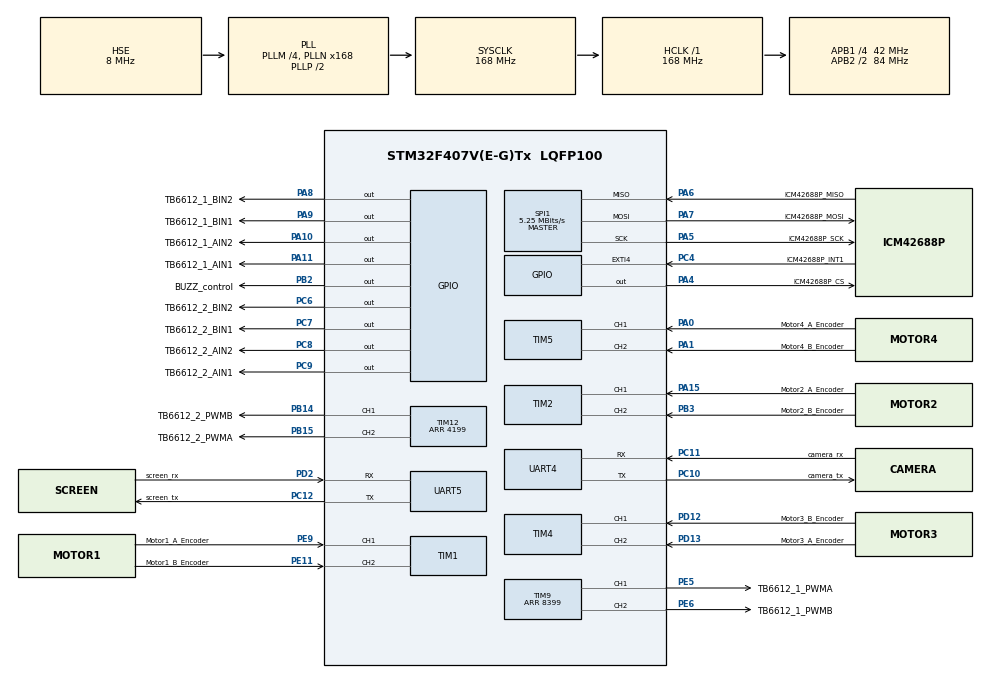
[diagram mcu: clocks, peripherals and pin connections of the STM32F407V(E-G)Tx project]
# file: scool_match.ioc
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Dma.Request0=SPI1_RX
Dma.Request1=SPI1_TX
Dma.Request2=UART4_RX
Dma.SPI1_RX.0.Direction=DMA_PERIPH_TO_MEMORY
Dma.SPI1_RX.0.FIFOMode=DMA_FIFOMODE_DISABLE
Dma.SPI1_RX.0.Instance=DMA2_Stream0
Dma.SPI1_RX.0.MemDataAlignment=DMA_MDATAALIGN_BYTE
Dma.SPI1_RX.0.MemInc=DMA_MINC_ENABLE
Dma.SPI1_RX.0.Mode=DMA_NORMAL
Dma.SPI1_RX.0.PeriphDataAlignment=DMA_PDATAALIGN_BYTE
Dma.SPI1_RX.0.PeriphInc=DMA_PINC_DISABLE
Dma.SPI1_RX.0.Priority=DMA_PRIORITY_LOW
Dma.SPI1_TX.1.Direction=DMA_MEMORY_TO_PERIPH
Dma.SPI1_TX.1.FIFOMode=DMA_FIFOMODE_DISABLE
Dma.SPI1_TX.1.Instance=DMA2_Stream3
Dma.SPI1_TX.1.MemDataAlignment=DMA_MDATAALIGN_BYTE
Dma.SPI1_TX.1.MemInc=DMA_MINC_ENABLE
Dma.SPI1_TX.1.Mode=DMA_NORMAL
Dma.SPI1_TX.1.PeriphDataAlignment=DMA_PDATAALIGN_BYTE
Dma.SPI1_TX.1.PeriphInc=DMA_PINC_DISABLE
Dma.SPI1_TX.1.Priority=DMA_PRIORITY_LOW
Dma.UART4_RX.2.Direction=DMA_PERIPH_TO_MEMORY
Dma.UART4_RX.2.FIFOMode=DMA_FIFOMODE_DISABLE
Dma.UART4_RX.2.Instance=DMA1_Stream2
Dma.UART4_RX.2.MemDataAlignment=DMA_MDATAALIGN_BYTE
Dma.UART4_RX.2.MemInc=DMA_MINC_ENABLE
Dma.UART4_RX.2.Mode=DMA_NORMAL
Dma.UART4_RX.2.PeriphDataAlignment=DMA_PDATAALIGN_BYTE
Dma.UART4_RX.2.PeriphInc=DMA_PINC_DISABLE
Dma.UART4_RX.2.Priority=DMA_PRIORITY_LOW
Mcu.Family=STM32F4
Mcu.Name=STM32F407V(E-G)Tx
Mcu.Package=LQFP100
NVIC.DMA1_Stream2_IRQn=true\:0\:0\:false\:false\:true\:false\:true\:true
NVIC.DMA2_Stream0_IRQn=true\:0\:0\:false\:false\:true\:false\:true\:true
NVIC.DMA2_Stream3_IRQn=true\:0\:0\:false\:false\:true\:false\:true\:true
NVIC.EXTI4_IRQn=true\:0\:0\:false\:false\:true\:true\:true\:true
NVIC.PriorityGroup=NVIC_PRIORITYGROUP_4
NVIC.TIM6_DAC_IRQn=true\:15\:0\:false\:false\:true\:false\:true\:true
NVIC.TimeBase=TIM6_DAC_IRQn
NVIC.TimeBaseIP=TIM6
NVIC.UART4_IRQn=true\:0\:0\:false\:false\:true\:true\:true\:true
PA0-WKUP.GPIO_Label=Motor4_A_Encoder
PA0-WKUP.Signal=S_TIM5_CH1
PA1.GPIO_Label=Motor4_B_Encoder
PA1.Signal=S_TIM5_CH2
PA10.GPIO_Label=TB6612_1_AIN2
PA10.Signal=GPIO_Output
PA11.GPIO_Label=TB6612_1_AIN1
PA11.Signal=GPIO_Output
PA13.Mode=Serial_Wire
PA13.Signal=SYS_JTMS-SWDIO
PA14.Mode=Serial_Wire
PA14.Signal=SYS_JTCK-SWCLK
PA15.GPIO_Label=Motor2_A_Encoder
PA15.Signal=S_TIM2_CH1_ETR
PA4.GPIO_Label=ICM42688P_CS
PA4.PinState=GPIO_PIN_SET
PA4.Signal=GPIO_Output
PA5.GPIO_Label=ICM42688P_SCK
PA5.Mode=Full_Duplex_Master
PA5.Signal=SPI1_SCK
PA6.GPIO_Label=ICM42688P_MISO
PA6.Mode=Full_Duplex_Master
PA6.Signal=SPI1_MISO
PA7.GPIO_Label=ICM42688P_MOSI
PA7.Mode=Full_Duplex_Master
PA7.Signal=SPI1_MOSI
PA8.GPIO_Label=TB6612_1_BIN2
PA8.Signal=GPIO_Output
PA9.GPIO_Label=TB6612_1_BIN1
PA9.Signal=GPIO_Output
PB14.GPIO_Label=TB6612_2_PWMB
PB14.Signal=S_TIM12_CH1
PB15.GPIO_Label=TB6612_2_PWMA
PB15.Signal=S_TIM12_CH2
PB2.GPIO_Label=BUZZ_control
PB2.Signal=GPIO_Output
PB3.GPIO_Label=Motor2_B_Encoder
PB3.Signal=S_TIM2_CH2
PC10.GPIO_Label=camera_tx
PC10.Mode=Asynchronous
PC10.Signal=UART4_TX
PC11.GPIO_Label=camera_rx
PC11.Mode=Asynchronous
PC11.Signal=UART4_RX
PC12.GPIO_Label=screen_tx
PC12.Mode=Asynchronous
PC12.Signal=UART5_TX
PC4.GPIO_Label=ICM42688P_INT1
PC4.GPIO_PuPd=GPIO_NOPULL
PC4.Signal=GPXTI4
PC6.GPIO_Label=TB6612_2_BIN2
PC6.Signal=GPIO_Output
PC7.GPIO_Label=TB6612_2_BIN1
PC7.Signal=GPIO_Output
PC8.GPIO_Label=TB6612_2_AIN2
PC8.Signal=GPIO_Output
PC9.GPIO_Label=TB6612_2_AIN1
PC9.Signal=GPIO_Output
PD12.GPIO_Label=Motor3_B_Encoder
PD12.Signal=S_TIM4_CH1
PD13.GPIO_Label=Motor3_A_Encoder
PD13.Signal=S_TIM4_CH2
PD2.GPIO_Label=screen_rx
PD2.Mode=Asynchronous
PD2.Signal=UART5_RX
PE11.GPIO_Label=Motor1_B_Encoder
PE11.GPIO_PuPd=GPIO_PULLUP
PE11.Signal=S_TIM1_CH2
PE5.GPIO_Label=TB6612_1_PWMA
PE5.Signal=S_TIM9_CH1
PE6.GPIO_Label=TB6612_1_PWMB
PE6.Signal=S_TIM9_CH2
PE9.GPIO_Label=Motor1_A_Encoder
PE9.GPIO_PuPd=GPIO_PULLUP
PE9.Signal=S_TIM1_CH1
PH0-OSC_IN.Mode=HSE-External-Oscillator
PH0-OSC_IN.Signal=RCC_OSC_IN
PH1-OSC_OUT.Mode=HSE-External-Oscillator
PH1-OSC_OUT.Signal=RCC_OSC_OUT
ProjectManager.HeapSize=0x200
ProjectManager.StackSize=0x400
ProjectManager.TargetToolchain=CMake
RCC.48MHZClocksFreq_Value=84000000
RCC.AHBFreq_Value=168000000
RCC.APB1CLKDivider=RCC_HCLK_DIV4
RCC.APB1Freq_Value=42000000
RCC.APB1TimFreq_Value=84000000
RCC.APB2CLKDivider=RCC_HCLK_DIV2
RCC.APB2Freq_Value=84000000
RCC.APB2TimFreq_Value=168000000
RCC.CortexFreq_Value=168000000
RCC.HCLKFreq_Value=168000000
RCC.HSE_VALUE=8000000
RCC.HSI_VALUE=16000000
RCC.LSE_VALUE=32768
RCC.PLLM=4
RCC.PLLN=168
RCC.PLLSourceVirtual=RCC_PLLSOURCE_HSE
RCC.SYSCLKFreq_VALUE=168000000
RCC.SYSCLKSource=RCC_SYSCLKSOURCE_PLLCLK
RCC.VCOOutputFreq_Value=336000000
SH.S_TIM12_CH1.0=TIM12_CH1,PWM Generation1 CH1
SH.S_TIM12_CH2.0=TIM12_CH2,PWM Generation2 CH2
SH.S_TIM1_CH1.0=TIM1_CH1,Encoder_Interface
SH.S_TIM1_CH2.0=TIM1_CH2,Encoder_Interface
SH.S_TIM2_CH1_ETR.0=TIM2_CH1,Encoder_Interface
SH.S_TIM2_CH2.0=TIM2_CH2,Encoder_Interface
SH.S_TIM4_CH1.0=TIM4_CH1,Encoder_Interface
SH.S_TIM4_CH2.0=TIM4_CH2,Encoder_Interface
SH.S_TIM5_CH1.0=TIM5_CH1,Encoder_Interface
SH.S_TIM5_CH2.0=TIM5_CH2,Encoder_Interface
SH.S_TIM9_CH1.0=TIM9_CH1,PWM Generation1 CH1
SH.S_TIM9_CH2.0=TIM9_CH2,PWM Generation2 CH2
SPI1.BaudRatePrescaler=SPI_BAUDRATEPRESCALER_16
SPI1.CalculateBaudRate=5.25 MBits/s
SPI1.Direction=SPI_DIRECTION_2LINES
SPI1.Mode=SPI_MODE_MASTER
SPI1.VirtualType=VM_MASTER
TIM1.EncoderMode=TIM_ENCODERMODE_TI12
TIM1.IC1Filter=8
TIM1.IC2Filter=0
TIM12.Channel-PWM\ Generation1\ CH1=TIM_CHANNEL_1
TIM12.Channel-PWM\ Generation2\ CH2=TIM_CHANNEL_2
TIM12.Period=4199
TIM12.Pulse-PWM\ Generation1\ CH1=2100
TIM12.Pulse-PWM\ Generation2\ CH2=2100
TIM2.EncoderMode=TIM_ENCODERMODE_TI12
TIM2.IC1Filter=8
TIM2.IC2Filter=8
TIM4.EncoderMode=TIM_ENCODERMODE_TI12
TIM4.IC1Filter=8
TIM4.IC2Filter=8
TIM5.EncoderMode=TIM_ENCODERMODE_TI12
TIM5.IC1Filter=8
TIM5.IC2Filter=8
TIM9.Channel-PWM\ Generation1\ CH1=TIM_CHANNEL_1
TIM9.Channel-PWM\ Generation2\ CH2=TIM_CHANNEL_2
TIM9.Period=8399
TIM9.Pulse-PWM\ Generation1\ CH1=4200
TIM9.Pulse-PWM\ Generation2\ CH2=4200
UART4.VirtualMode=Asynchronous
UART5.VirtualMode=Asynchronous
VP_SYS_VS_tim6.Mode=TIM6
board=custom

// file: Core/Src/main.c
/* USER CODE BEGIN Header */
/**
  ******************************************************************************
  * @file           : main.c
  * @brief          : Main program body
  ******************************************************************************
  * @attention
  *
  * Copyright (c) 2026 STMicroelectronics.
  * All rights reserved.
  *
  * This software is licensed under terms that can be found in the LICENSE file
  * in the root directory of this software component.
  * If no LICENSE file comes with this software, it is provided AS-IS.
  *
  ******************************************************************************
  */
/* USER CODE END Header */
#include "main.h"
#include "dma.h"
#include "spi.h"
#include "tim.h"
#include "usart.h"
#include "gpio.h"

/* USER CODE BEGIN Includes */
#include "app_platform_drive.h"
#include "alarm_service.h"
#include "camera_uart.h"
#include "encoder.h"
#include "icm42688p.h"
#include "screen_uart.h"
#include "task5.h"
#include "task6.h"
#include "vision_app.h"
#include <stdio.h>
#include <stdlib.h>
#include <string.h>
/* USER CODE END Includes */

/* USER CODE BEGIN PV */
static app_platform_drive_t s_platform_drive;
static app_platform_drive_config_t s_platform_config;
static uint32_t s_last_drive_update_ms = 0U;

/* USER CODE END PV */

void SystemClock_Config(void);
/* USER CODE BEGIN PFP */
static void App_MainProcess(void);
static void App_HandleScreenCommands(void);
static void App_PrintHelp(void);
static uint8_t App_ReadAllEncoderCounts(int32_t counts[ENCODER_COUNT]);
static void App_PrintEncoderCounts(const char *prefix, const int32_t counts[ENCODER_COUNT]);
static void App_PrintPlatformState(void);
static const char *App_Task5PointName(uint8_t point_index);
static void App_PrintTask5Table(void);

/* USER CODE END PFP */

/* USER CODE BEGIN 0 */
static void App_PrintHelp(void)
{
  (void)ScreenUart_Printf("task6 cmd: zero, t6_mark=1..2, t6_run, t6_stop, t6_stat, t6_list\r\n");
}

static uint8_t App_ReadAllEncoderCounts(int32_t counts[ENCODER_COUNT])
{
  uint32_t index;

  if (counts == NULL)
  {
    return 0U;
  }

  for (index = 0U; index < (uint32_t)ENCODER_COUNT; index++)
  {
    if (Encoder_GetCount((encoder_id_t)index, &counts[index]) != ENCODER_STATUS_OK)
    {
      return 0U;
    }
  }

  return 1U;
}

static void App_PrintEncoderCounts(const char *prefix, const int32_t counts[ENCODER_COUNT])
{
  if ((prefix == NULL) || (counts == NULL))
  {
    return;
  }

  (void)ScreenUart_Printf("%s m1=%ld m2=%ld m3=%ld m4=%ld\r\n",
                          prefix,
                          (long)counts[0],
                          (long)counts[1],
                          (long)counts[2],
                          (long)counts[3]);
}

static const char *App_Task5PointName(uint8_t point_index)
{
  switch (point_index)
  {
    case 1U:
      return "LT";
    case 2U:
      return "RT";
    case 3U:
      return "R(+20,+10)";
    case 4U:
      return "L(-20,+10)";
    case 5U:
      return "L(-20,0)";
    case 6U:
      return "R(+20,0)";
    case 7U:
      return "R(+20,-10)";
    case 8U:
      return "L(-20,-10)";
    case 9U:
      return "LB";
    case 10U:
      return "RB";
    default:
      return "?";
  }
}

static void App_PrintTask5Table(void)
{
  task5_waypoint_t waypoint;
  task6_fire_point_t fire_point;
  uint8_t point_id;
  uint8_t fire_id;

  for (point_id = 1U; point_id <= (uint8_t)TASK5_POINT_COUNT; point_id++)
  {
    if (Task5_GetWaypoint((task5_point_id_t)point_id, &waypoint) == 0U)
    {
      continue;
    }

    (void)ScreenUart_Printf("p%u(%s) xy=(%d,%d) valid=%u counts={ %ld, %ld, %ld, %ld }\r\n",
                            (unsigned int)point_id,
                            App_Task5PointName(point_id),
                            (int)waypoint.x_cm,
                            (int)waypoint.y_cm,
                            (unsigned int)waypoint.valid,
                            (long)waypoint.counts[0],
                            (long)waypoint.counts[1],
                            (long)waypoint.counts[2],
                            (long)waypoint.counts[3]);
  }

  for (fire_id = 1U; fire_id <= TASK6_FIRE_POINT_COUNT; fire_id++)
  {
    if (Task6_GetFirePoint(fire_id, &fire_point) == 0U)
    {
      continue;
    }

    (void)ScreenUart_Printf("fire%u valid=%u counts={ %ld, %ld, %ld, %ld }\r\n",
                            (unsigned int)fire_id,
                            (unsigned int)fire_point.valid,
                            (long)fire_point.counts[0],
                            (long)fire_point.counts[1],
                            (long)fire_point.counts[2],
                            (long)fire_point.counts[3]);
  }
}

static void App_PrintPlatformState(void)
{
  const rope_platform_solver_t *solver = AppPlatformDrive_GetSolver(&s_platform_drive);

  if ((solver == NULL) || (solver->state_valid == 0U))
  {
    (void)ScreenUart_Printf("pose invalid\r\n");
    return;
  }

  (void)ScreenUart_Printf("pose x=%.4f y=%.4f vx=%.4f vy=%.4f rms=%.5f zero=%u busy=%u\r\n",
                          (double)solver->position_x_m,
                          (double)solver->position_y_m,
                          (double)solver->velocity_x_mps,
                          (double)solver->velocity_y_mps,
                          (double)solver->residual_rms_m,
                          (unsigned int)Task6_IsCenterZeroReady(),
                          (unsigned int)Task6_IsBusy());
  (void)ScreenUart_Printf("task6 zero=%u busy=%u state=%u step=%u target=%u fire_alarm=%u fire_ready=%u\r\n",
                          (unsigned int)Task6_IsCenterZeroReady(),
                          (unsigned int)Task6_IsBusy(),
                          (unsigned int)Task6_GetState(),
                          (unsigned int)Task6_GetCurrentPathIndex(),
                          (unsigned int)Task6_GetCurrentTarget(),
                          (unsigned int)Task6_IsFireAlarmActive(),
                          (unsigned int)Task6_IsFirePointsReady());
}

static void App_PrintTask6CurrentStep(void)
{
  const uint8_t fire_id = Task6_GetCurrentFireId();

  if (fire_id != 0U)
  {
    (void)ScreenUart_Printf("t6 current step=%u fire%u\r\n",
                            (unsigned int)Task6_GetCurrentPathIndex(),
                            (unsigned int)fire_id);
  }
  else
  {
    (void)ScreenUart_Printf("t6 current step=%u p%u(%s)\r\n",
                            (unsigned int)Task6_GetCurrentPathIndex(),
                            (unsigned int)Task6_GetCurrentTarget(),
                            App_Task5PointName((uint8_t)Task6_GetCurrentTarget()));
  }
}

static void App_HandleScreenCommands(void)
{
  char line[SCREEN_UART_LINE_BUFFER_SIZE];
  int32_t counts[ENCODER_COUNT];

  while (ScreenUart_ReadLine(line, sizeof(line)) != 0U)
  {
    if (strcmp(line, "enc") == 0)
    {
      if (App_ReadAllEncoderCounts(counts) == 0U)
      {
        (void)ScreenUart_Printf("enc read failed\r\n");
      }
      else
      {
        App_PrintEncoderCounts("enc", counts);
      }
      continue;
    }

    if (strcmp(line, "zero") == 0)
    {
      Task6_Stop();

      if (Encoder_ResetAll() != ENCODER_STATUS_OK)
      {
        (void)ScreenUart_Printf("enc zero failed\r\n");
      }
      else if (Task6_SetCenterZero() == 0U)
      {
        (void)ScreenUart_Printf("center zero failed\r\n");
      }
      else
      {
        (void)ScreenUart_Printf("center zero ok\r\n");
      }
      continue;
    }

    if (strncmp(line, "t6_mark=", 8U) == 0)
    {
      const int fire_point_id = atoi(&line[8]);

      if ((fire_point_id < 1) || (fire_point_id > (int)TASK6_FIRE_POINT_COUNT))
      {
        (void)ScreenUart_Printf("t6 mark id invalid\r\n");
      }
      else if (Task6_IsCenterZeroReady() == 0U)
      {
        (void)ScreenUart_Printf("please zero at center first\r\n");
      }
      else if (Task6_PrintFireCalibrationPoint((uint8_t)fire_point_id) == 0U)
      {
        (void)ScreenUart_Printf("t6 mark fire%d failed\r\n", fire_point_id);
      }
      continue;
    }

    if (strcmp(line, "t6_run") == 0)
    {
      if (Task6_IsCenterZeroReady() == 0U)
      {
        (void)ScreenUart_Printf("please zero at center first\r\n");
      }
      else if (Task6_StartPatrol() == 0U)
      {
        (void)ScreenUart_Printf("t6 run start failed\r\n");
      }
      else
      {
        App_PrintTask6CurrentStep();
      }
      continue;
    }

    if (strcmp(line, "t6_stop") == 0)
    {
      Task6_Stop();
      (void)ScreenUart_Printf("t6 stop ok\r\n");
      continue;
    }

    if (strcmp(line, "t6_stat") == 0)
    {
      App_PrintPlatformState();
      continue;
    }

    if (strcmp(line, "t6_list") == 0)
    {
      App_PrintTask5Table();
      continue;
    }

    if (strcmp(line, "stat") == 0)
    {
      if (App_ReadAllEncoderCounts(counts) == 0U)
      {
        (void)ScreenUart_Printf("stat read failed\r\n");
      }
      else
      {
        App_PrintEncoderCounts("stat", counts);
        App_PrintPlatformState();
      }
      continue;
    }

    if (strcmp(line, "help") == 0)
    {
      App_PrintHelp();
      continue;
    }

    (void)ScreenUart_Printf("unknown: %s\r\n", line);
  }
}

static void App_MainProcess(void)
{
  const uint32_t now_ms = HAL_GetTick();
  static task6_state_t s_last_task6_state = TASK6_STATE_IDLE;
  static uint8_t s_last_step_index = 0U;

  App_HandleScreenCommands();

  if ((now_ms - s_last_drive_update_ms) >= 10U)
  {
    s_last_drive_update_ms = now_ms;
    TASK6();
    if (Task6_IsBusy() == 0U)
    {
      (void)AppPlatformDrive_UpdateStateOnly(&s_platform_drive, 0.010f);
    }
  }

  if ((Task6_GetState() == TASK6_STATE_RUNNING) &&
      (Task6_GetCurrentPathIndex() != s_last_step_index))
  {
    App_PrintTask6CurrentStep();
  }

  if ((s_last_task6_state != TASK6_STATE_FIRE_ALARM) && (Task6_GetState() == TASK6_STATE_FIRE_ALARM))
  {
    (void)ScreenUart_Printf("t6 fire alarm start\r\n");
  }

  if ((s_last_task6_state == TASK6_STATE_FIRE_ALARM) && (Task6_GetState() == TASK6_STATE_RUNNING))
  {
    (void)ScreenUart_Printf("t6 fire alarm done, continue\r\n");
  }

  if ((s_last_task6_state != TASK6_STATE_FINISHED) && (Task6_GetState() == TASK6_STATE_FINISHED))
  {
    (void)ScreenUart_Printf("t6 patrol finished\r\n");
  }

  if ((s_last_task6_state != TASK6_STATE_ERROR) && (Task6_GetState() == TASK6_STATE_ERROR))
  {
    (void)ScreenUart_Printf("t6 run failed\r\n");
  }

  s_last_task6_state = Task6_GetState();
  s_last_step_index = Task6_GetCurrentPathIndex();
}
/* USER CODE END 0 */

int main(void)
{

  /* MCU Configuration--------------------------------------------------------*/

  /* Reset of all peripherals, Initializes the Flash interface and the Systick. */
  HAL_Init();

  /* Configure the system clock */
  SystemClock_Config();

  /* Initialize all configured peripherals */
  MX_GPIO_Init();
  MX_DMA_Init();
  MX_SPI1_Init();
  MX_TIM1_Init();
  MX_TIM2_Init();
  MX_TIM4_Init();
  MX_TIM5_Init();
  MX_TIM9_Init();
  MX_TIM12_Init();
  MX_UART4_Init();
  MX_UART5_Init();
  /* USER CODE BEGIN 2 */
  (void)CameraUart_Init();
  (void)ScreenUart_Init();
  AlarmService_Init();
  (void)ScreenUart_SendString("boot uart5 ok\r\n");
  AppPlatformDrive_GetDefaultConfig(&s_platform_config);
  if (AppPlatformDrive_Init(&s_platform_drive, &s_platform_config) != APP_PLATFORM_DRIVE_STATUS_OK)
  {
    (void)ScreenUart_Printf("platform init failed\r\n");
  }
  else
  {
    Task6_Init(&s_platform_drive);
    (void)ScreenUart_Printf("platform init ok\r\n");
    App_PrintHelp();
  }
  s_last_drive_update_ms = HAL_GetTick();
  /* USER CODE END 2 */

  /* Infinite loop */
  while (1)
  {

    /* USER CODE BEGIN 3 */
    App_MainProcess();
  }
  /* USER CODE END 3 */
}

void SystemClock_Config(void)
{
  RCC_OscInitTypeDef RCC_OscInitStruct = {0};
  RCC_ClkInitTypeDef RCC_ClkInitStruct = {0};

  /** Configure the main internal regulator output voltage
  */
  __HAL_RCC_PWR_CLK_ENABLE();
  __HAL_PWR_VOLTAGESCALING_CONFIG(PWR_REGULATOR_VOLTAGE_SCALE1);

  /** Initializes the RCC Oscillators according to the specified parameters
  * in the RCC_OscInitTypeDef structure.
  */
  RCC_OscInitStruct.OscillatorType = RCC_OSCILLATORTYPE_HSE;
  RCC_OscInitStruct.HSEState = RCC_HSE_ON;
  RCC_OscInitStruct.PLL.PLLState = RCC_PLL_ON;
  RCC_OscInitStruct.PLL.PLLSource = RCC_PLLSOURCE_HSE;
  RCC_OscInitStruct.PLL.PLLM = 4;
  RCC_OscInitStruct.PLL.PLLN = 168;
  RCC_OscInitStruct.PLL.PLLP = RCC_PLLP_DIV2;
  RCC_OscInitStruct.PLL.PLLQ = 4;
  if (HAL_RCC_OscConfig(&RCC_OscInitStruct) != HAL_OK)
  {
    Error_Handler();
  }

  /** Initializes the CPU, AHB and APB buses clocks
  */
  RCC_ClkInitStruct.ClockType = RCC_CLOCKTYPE_HCLK|RCC_CLOCKTYPE_SYSCLK
                              |RCC_CLOCKTYPE_PCLK1|RCC_CLOCKTYPE_PCLK2;
  RCC_ClkInitStruct.SYSCLKSource = RCC_SYSCLKSOURCE_PLLCLK;
  RCC_ClkInitStruct.AHBCLKDivider = RCC_SYSCLK_DIV1;
  RCC_ClkInitStruct.APB1CLKDivider = RCC_HCLK_DIV4;
  RCC_ClkInitStruct.APB2CLKDivider = RCC_HCLK_DIV2;

  if (HAL_RCC_ClockConfig(&RCC_ClkInitStruct, FLASH_LATENCY_5) != HAL_OK)
  {
    Error_Handler();
  }
}

/* USER CODE BEGIN 4 */

void HAL_UART_RxCpltCallback(UART_HandleTypeDef *huart)
{
  if (huart == &huart5)
  {
    ScreenUart_RxCpltCallback(huart);
    return;
  }

  VisionApp_RxCpltCallback(huart);
}

void HAL_UARTEx_RxEventCallback(UART_HandleTypeDef *huart, uint16_t Size)
{
  CameraUart_RxEventCallback(huart, Size);
}

void HAL_UART_ErrorCallback(UART_HandleTypeDef *huart)
{
  CameraUart_ErrorCallback(huart);
  ScreenUart_ErrorCallback(huart);
}

void HAL_GPIO_EXTI_Callback(uint16_t GPIO_Pin)
{
  if (GPIO_Pin == ICM42688P_INT1_Pin)
  {
    ICM42688_Int1IrqHandler();
  }
}

/* USER CODE END 4 */

void HAL_TIM_PeriodElapsedCallback(TIM_HandleTypeDef *htim)
{
  if (htim->Instance == TIM6)
  {
    HAL_IncTick();
  }
}

void Error_Handler(void)
{
  __disable_irq();
  while (1)
  {
  }
}
